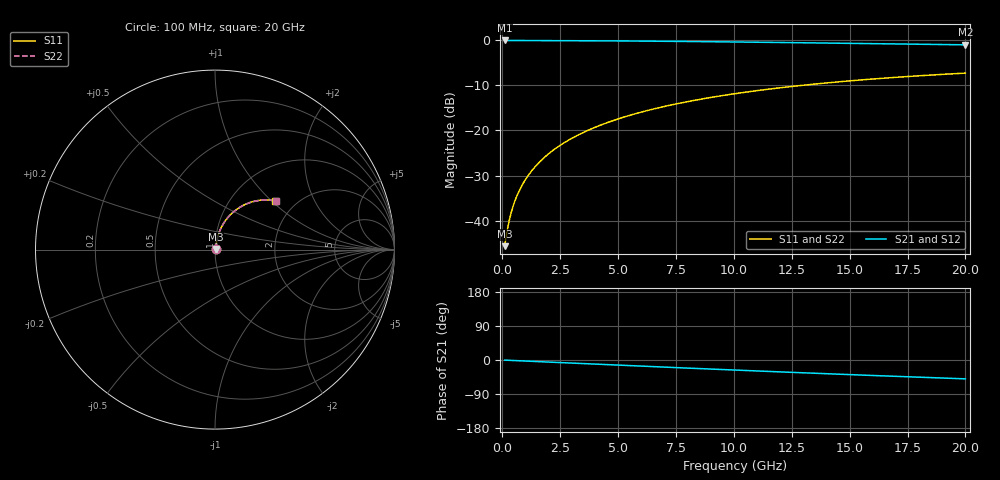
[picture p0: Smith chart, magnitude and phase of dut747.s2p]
! Touchstone file exported from HFSS 2026.1.0
!  File:  C:/ffzhzh/LocalFiles/Ansys_Project_Files/temp_train_BSMRDL_747_1783168805_22436.aedt
!  Generated:  08:41:19 PM Jul  4, 2026
!  Design:  BSMRDL
!  Project:  temp_train_BSMRDL_747_1783168805_22436
! Variables:
!  h_bsmrdl = 2.38um
!  h_ox = 20um
!  h_rdl = 5um
!  h_sub = 80um
!  h_tmrdl = 5um
!  h_tsv = 80um
!  h_via = 3um
!  l_bsmrdl = 733.91um
!  l_sub = 1133.91um
!  l_tmrdl = 200um
!  m_sub = 200um
!  pitch = 57.3um
!  r_tsv = 6um
!  s_tmrdl = 10um
!  w_bsmrdl = 28.03um
!  w_sub = 500um
!  w_tmrdl = 12um
!  x_tsv_center1 = 206um
!  x_tsv_center2 = 967.94um
!  x_tsv_center3 = 1179.94um
!  x_tsv_center4 = 1941.88um
!  x_tsv_center5 = 2153.88um
!  x_tsv_center6 = 2915.82um
# GHz S MA R 50.000000
! Terminal data exported
! Port[1] = BSM_RDL1_1_T1
! Port[2] = BSM_RDL1_1_T2
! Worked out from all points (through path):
!   200 points, 100 MHz to 20 GHz, reference 50 ohm
!   highest |S21| = -0.04 dB at 100 MHz (marker M1); lowest = -1.0 dB at 20 GHz (marker M2)
!   group delay of S21, straight-line fit = 6.93 ps
!   lowest |S11| = -45.7 dB at 100 MHz (marker M3), VSWR 1.01, Z = 50.4 + j0.307 ohm
!   |S11| at or under -10 dB: start of sweep to 12.94 GHz
!   |S22| runs from -45.7 to -7.3 dB; largest |S21 - S12| = 3.1e-15
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0.1  0.00521 35.7  0.9958 -0.3  0.9958 -0.3  0.00521 35.7
! Gamma 0 0 0 0
! Port Impedance 50 0 50 0
0.2  0.007478 53.5  0.9956 -0.6  0.9956 -0.6  0.007478 53.5
0.3  0.01007 62.0  0.9954 -0.9  0.9954 -0.9  0.01007 62.0
0.4  0.01272 66.6  0.9951 -1.1  0.9951 -1.1  0.01272 66.6
0.5  0.01536 69.6  0.9949 -1.4  0.9949 -1.4  0.01537 69.6
0.6  0.018 71.6  0.9947 -1.7  0.9947 -1.7  0.018 71.6
0.8  0.02326 74.3  0.9943 -2.2  0.9943 -2.2  0.02326 74.3
1.1  0.03117 76.6  0.9939 -3.0  0.9939 -3.0  0.03117 76.6
1.3  0.03648 77.4  0.9936 -3.6  0.9936 -3.6  0.03648 77.4
1.6  0.04446 78.1  0.9932 -4.4  0.9932 -4.4  0.04446 78.1
2.1  0.05782 78.4  0.9924 -5.7  0.9924 -5.7  0.05782 78.4
2.7  0.07384 77.9  0.9912 -7.4  0.9912 -7.4  0.07384 77.9
3.5  0.09508 76.7  0.9892 -9.5  0.9892 -9.5  0.09508 76.7
4.2  0.1135 75.4  0.9871 -11.4  0.9871 -11.4  0.1135 75.3
5  0.1343 73.7  0.9843 -13.5  0.9843 -13.5  0.1343 73.6
5.9  0.1572 71.6  0.9806 -15.9  0.9806 -15.9  0.1572 71.5
6.8  0.1797 69.5  0.9765 -18.3  0.9765 -18.3  0.1797 69.4
8.3  0.2159 65.8  0.9686 -22.1  0.9686 -22.1  0.2159 65.7
10.1  0.257 61.5  0.958 -26.7  0.958 -26.7  0.257 61.4
13.4  0.3252 53.6  0.9361 -34.8  0.9361 -34.8  0.3252 53.5
16.7  0.3837 46.1  0.9132 -42.5  0.9132 -42.5  0.3838 45.9
20  0.4325 39.0  0.8908 -49.8  0.8908 -49.8  0.4326 38.7
